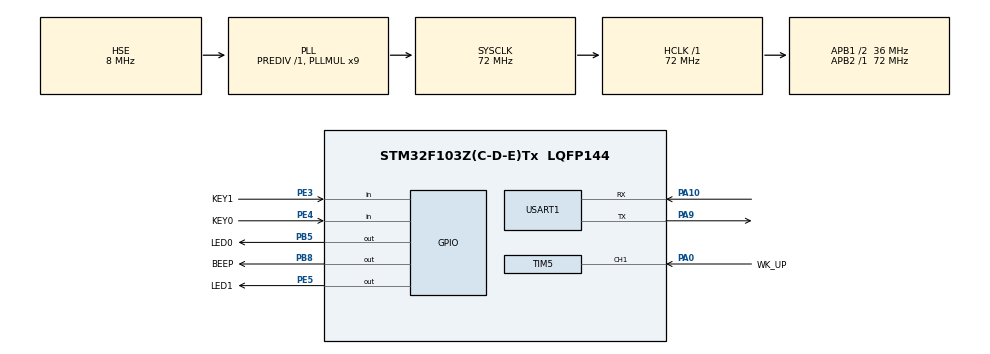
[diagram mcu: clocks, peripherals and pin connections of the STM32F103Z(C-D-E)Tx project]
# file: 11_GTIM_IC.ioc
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Mcu.Family=STM32F1
Mcu.Name=STM32F103Z(C-D-E)Tx
Mcu.Package=LQFP144
NVIC.PriorityGroup=NVIC_PRIORITYGROUP_4
NVIC.TIM5_IRQn=true\:3\:0\:true\:false\:true\:true\:true\:true
NVIC.USART1_IRQn=true\:3\:0\:true\:false\:true\:true\:true\:true
OSC_IN.Mode=HSE-External-Oscillator
OSC_IN.Signal=RCC_OSC_IN
OSC_OUT.Mode=HSE-External-Oscillator
OSC_OUT.Signal=RCC_OSC_OUT
PA0-WKUP.GPIO_Label=WK_UP
PA0-WKUP.GPIO_PuPd=GPIO_PULLDOWN
PA0-WKUP.Signal=S_TIM5_CH1
PA10.Mode=Asynchronous
PA10.Signal=USART1_RX
PA13.Mode=Serial_Wire
PA13.Signal=SYS_JTMS-SWDIO
PA14.Mode=Serial_Wire
PA14.Signal=SYS_JTCK-SWCLK
PA9.Mode=Asynchronous
PA9.Signal=USART1_TX
PB5.GPIO_Label=LED0
PB5.GPIO_PuPd=GPIO_PULLUP
PB5.PinState=GPIO_PIN_SET
PB5.Signal=GPIO_Output
PB8.GPIO_Label=BEEP
PB8.GPIO_PuPd=GPIO_PULLDOWN
PB8.PinState=GPIO_PIN_RESET
PB8.Signal=GPIO_Output
PC14-OSC32_IN.Mode=LSE-External-Oscillator
PC14-OSC32_IN.Signal=RCC_OSC32_IN
PC15-OSC32_OUT.Mode=LSE-External-Oscillator
PC15-OSC32_OUT.Signal=RCC_OSC32_OUT
PE3.GPIO_Label=KEY1
PE3.GPIO_PuPd=GPIO_PULLUP
PE3.Signal=GPIO_Input
PE4.GPIO_Label=KEY0
PE4.GPIO_PuPd=GPIO_PULLUP
PE4.Signal=GPIO_Input
PE5.GPIO_Label=LED1
PE5.GPIO_PuPd=GPIO_PULLUP
PE5.PinState=GPIO_PIN_SET
PE5.Signal=GPIO_Output
ProjectManager.HeapSize=0x200
ProjectManager.StackSize=0x400
ProjectManager.TargetToolchain=STM32CubeIDE
RCC.AHBFreq_Value=72000000
RCC.APB1CLKDivider=RCC_HCLK_DIV2
RCC.APB1Freq_Value=36000000
RCC.APB1TimFreq_Value=72000000
RCC.APB2Freq_Value=72000000
RCC.APB2TimFreq_Value=72000000
RCC.HCLKFreq_Value=72000000
RCC.PLLMUL=RCC_PLL_MUL9
RCC.PLLSourceVirtual=RCC_PLLSOURCE_HSE
RCC.SYSCLKFreq_VALUE=72000000
RCC.SYSCLKSource=RCC_SYSCLKSOURCE_PLLCLK
RCC.USBFreq_Value=72000000
SH.S_TIM5_CH1.0=TIM5_CH1,Input_Capture1_from_TI1
TIM5.Channel-Input_Capture1_from_TI1=TIM_CHANNEL_1
TIM5.Prescaler=72 - 1
USART1.VirtualMode=VM_ASYNC
VP_TIM5_VS_ClockSourceINT.Mode=Internal
board=custom

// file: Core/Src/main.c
/* USER CODE BEGIN Header */
/**
  ******************************************************************************
  * @file           : main.c
  * @brief          : Main program body
  ******************************************************************************
  * @attention
  *
  * Copyright (c) 2023 STMicroelectronics.
  * All rights reserved.
  *
  * This software is licensed under terms that can be found in the LICENSE file
  * in the root directory of this software component.
  * If no LICENSE file comes with this software, it is provided AS-IS.
  *
  ******************************************************************************
  */
/* USER CODE END Header */
#include "main.h"
#include "tim.h"
#include "usart.h"
#include "gpio.h"

/* USER CODE BEGIN Includes */
#include "../../BSP/LED/led.h"
#include "../../BSP/BEEP/beep.h"
#include "../../BSP/KEY/key.h"
/* USER CODE END Includes */

void SystemClock_Config(void);
/* USER CODE BEGIN PFP */
uint8_t rising_flag = 0;
uint8_t falling_flag = 0;
uint8_t overflow_val = 0;
uint16_t cnt_val = 0;
/* USER CODE END PFP */

/* USER CODE BEGIN 0 */
void HAL_TIM_IC_CaptureCallback(TIM_HandleTypeDef *htim)
{
	if(htim->Instance == TIM5)
	{
		if(falling_flag == 0)
		{
			/* 捕获到下降沿的操作 */
			if(rising_flag == 1)
			{
				falling_flag = 1;
				cnt_val = HAL_TIM_ReadCapturedValue(htim, TIM_CHANNEL_1);
				__HAL_TIM_SET_CAPTUREPOLARITY(htim, TIM_CHANNEL_1, TIM_INPUTCHANNELPOLARITY_RISING);
			}
			else
			{
				rising_flag = 0;
				falling_flag = 0;
				overflow_val = 0;
				cnt_val = 0;
				/* 捕获到上升沿的操作 */
				rising_flag = 1;
				__HAL_TIM_DISABLE(htim);
				__HAL_TIM_SET_COUNTER(htim, 0);
				__HAL_TIM_SET_CAPTUREPOLARITY(htim, TIM_CHANNEL_1, TIM_INPUTCHANNELPOLARITY_FALLING);
				__HAL_TIM_ENABLE(htim);
			}
		}
	}
}

void HAL_TIM_PeriodElapsedCallback(TIM_HandleTypeDef *htim)
{
	if(htim->Instance == TIM5)
	{
		if(falling_flag == 0)
		{
			if(rising_flag == 1)
			{
				if((overflow_val & 0XFF) == 0XFF)	/* 高电平时间太长了，强制捕获成功 */
				{
					falling_flag = 1;
					__HAL_TIM_SET_CAPTUREPOLARITY(htim, TIM_CHANNEL_1, TIM_INPUTCHANNELPOLARITY_RISING);
					cnt_val = 0XFFFF;
				}else
				{
					overflow_val++;
				}
			}

		}
	}
}

/* USER CODE END 0 */

int main(void)
{
  /* USER CODE BEGIN 1 */
 uint32_t temp = 0;
  /* USER CODE END 1 */

  /* MCU Configuration--------------------------------------------------------*/

  /* Reset of all peripherals, Initializes the Flash interface and the Systick. */
  HAL_Init();

  /* Configure the system clock */
  SystemClock_Config();

  /* Initialize all configured peripherals */
  MX_GPIO_Init();
  MX_USART1_UART_Init();
  MX_TIM5_Init();
  /* USER CODE BEGIN 2 */
  HAL_TIM_Base_Start_IT(&htim5);
  HAL_TIM_IC_Start_IT(&htim5, TIM_CHANNEL_1);
  /* USER CODE END 2 */

  /* Infinite loop */
  /* USER CODE BEGIN WHILE */
  while (1)
  {
	  if(falling_flag == 1)
	  {
		  temp = overflow_val * 65536;
		  temp += cnt_val;
		  printf("高电平的脉宽长度：%ld us\r\n", temp);
		  falling_flag = 0;
		  rising_flag = 0;
	  }
    /* USER CODE END WHILE */

  }
}

void SystemClock_Config(void)
{
  RCC_OscInitTypeDef RCC_OscInitStruct = {0};
  RCC_ClkInitTypeDef RCC_ClkInitStruct = {0};

  /** Initializes the RCC Oscillators according to the specified parameters
  * in the RCC_OscInitTypeDef structure.
  */
  RCC_OscInitStruct.OscillatorType = RCC_OSCILLATORTYPE_HSE;
  RCC_OscInitStruct.HSEState = RCC_HSE_ON;
  RCC_OscInitStruct.HSEPredivValue = RCC_HSE_PREDIV_DIV1;
  RCC_OscInitStruct.HSIState = RCC_HSI_ON;
  RCC_OscInitStruct.PLL.PLLState = RCC_PLL_ON;
  RCC_OscInitStruct.PLL.PLLSource = RCC_PLLSOURCE_HSE;
  RCC_OscInitStruct.PLL.PLLMUL = RCC_PLL_MUL9;
  if (HAL_RCC_OscConfig(&RCC_OscInitStruct) != HAL_OK)
  {
    Error_Handler();
  }

  /** Initializes the CPU, AHB and APB buses clocks
  */
  RCC_ClkInitStruct.ClockType = RCC_CLOCKTYPE_HCLK|RCC_CLOCKTYPE_SYSCLK
                              |RCC_CLOCKTYPE_PCLK1|RCC_CLOCKTYPE_PCLK2;
  RCC_ClkInitStruct.SYSCLKSource = RCC_SYSCLKSOURCE_PLLCLK;
  RCC_ClkInitStruct.AHBCLKDivider = RCC_SYSCLK_DIV1;
  RCC_ClkInitStruct.APB1CLKDivider = RCC_HCLK_DIV2;
  RCC_ClkInitStruct.APB2CLKDivider = RCC_HCLK_DIV1;

  if (HAL_RCC_ClockConfig(&RCC_ClkInitStruct, FLASH_LATENCY_2) != HAL_OK)
  {
    Error_Handler();
  }
}

void Error_Handler(void)
{
  __disable_irq();
  while (1)
  {
  }
}
